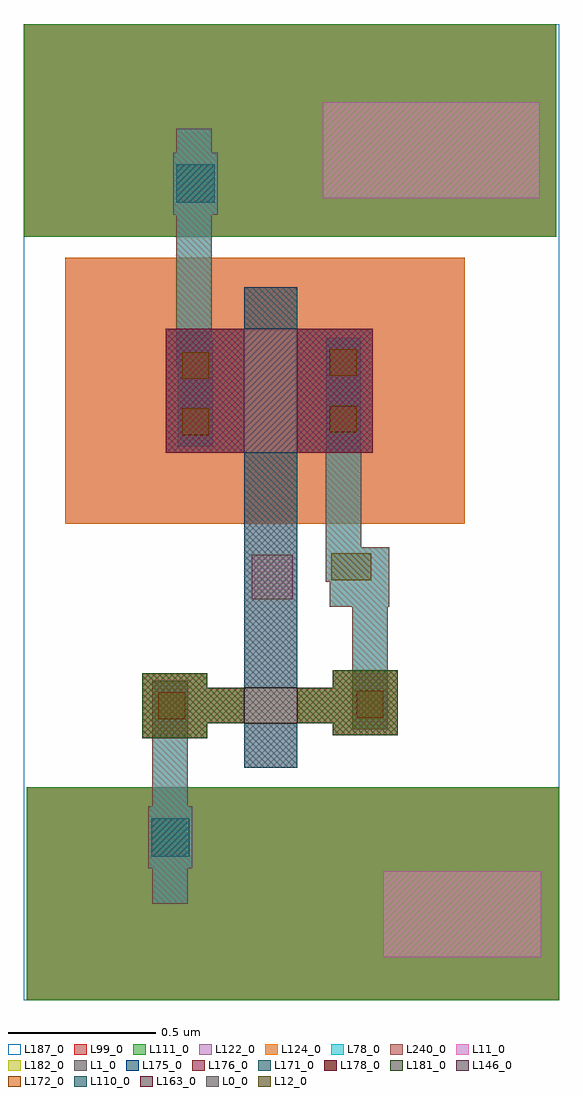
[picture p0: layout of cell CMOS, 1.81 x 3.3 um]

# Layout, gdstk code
import gdstk
lib = gdstk.Library(unit=1e-6, precision=1e-09)
def R(c, l, rs):  # rectangles x0, y0, x1, y1
    for r in rs: c.add(gdstk.rectangle(r[:2], r[2:], *l))
def P(c, l, *ps):  # polygons
    for p in ps: c.add(gdstk.Polygon(p, *l))
L0_0 = (0, 0)
L1_0 = (1, 0)
L11_0 = (11, 0)
L12_0 = (12, 0)
L78_0 = (78, 0)
L99_0 = (99, 0)
L110_0 = (110, 0)
L111_0 = (111, 0)
L122_0 = (122, 0)
L124_0 = (124, 0)
L146_0 = (146, 0)
L163_0 = (163, 0)
L171_0 = (171, 0)
L172_0 = (172, 0)
L175_0 = (175, 0)
L176_0 = (176, 0)
L178_0 = (178, 0)
L181_0 = (181, 0)
L182_0 = (182, 0)
L187_0 = (187, 0)
L240_0 = (240, 0)

cmos = lib.new_cell('CMOS')
R(cmos, L0_0, [(2.16,-0.305,2.3,-0.155)])
R(cmos, L1_0, [(2.135,-0.875,2.315,0.75)])
R(cmos, L11_0, [(2.605,-1.515,3.14,-1.225), (2.4,1.05,3.135,1.375)])
R(cmos, L12_0, [(2.43,-0.24,2.565,-0.15)])
P(cmos, L78_0, [(1.945,-0.58),(1.945,-1.005),(1.96,-1.005),(1.96,-1.215),(1.945,-1.215),(1.945,-1.335),(1.825,-1.335),(1.825,-1.215),(1.81,-1.215),(1.81,-1.005),(1.825,-1.005),(1.825,-0.58)],
  [(2.025,1.285),(2.025,1.205),(2.045,1.205),(2.045,0.995),(2.025,0.995),(2.025,0.57),(2.03,0.57),(2.03,0.21),(1.91,0.21),(1.91,0.485),(1.905,0.485),(1.905,0.995),(1.895,0.995),(1.895,1.205),(1.905,1.205),(1.905,1.285)],
  [(2.53,0.58),(2.53,-0.13),(2.625,-0.13),(2.625,-0.33),(2.62,-0.33),(2.62,-0.745),(2.5,-0.745),(2.5,-0.33),(2.425,-0.33),(2.425,-0.245),(2.41,-0.245),(2.41,0.58)])
R(cmos, L99_0, [(1.4,-1.66,3.2,-0.94), (1.39,0.92,3.19,1.64)])
R(cmos, L110_0, [(1.82,-1.175,1.95,-1.045), (1.905,1.035,2.035,1.165)])
R(cmos, L111_0, [(1.4,-1.66,3.2,-0.94), (1.39,0.92,3.19,1.64)])
R(cmos, L122_0, [(1.53,-0.05,2.88,0.85)])
R(cmos, L124_0, [(1.53,-0.05,2.88,0.85)])
R(cmos, L146_0, [(2.135,0.19,2.315,0.61)])
R(cmos, L163_0, [(2.135,-0.725,2.315,-0.605)])
R(cmos, L171_0, [(2.135,-0.875,2.315,-0.725), (2.135,-0.605,2.315,0.19), (2.135,0.61,2.315,0.75)])
R(cmos, L172_0, [(1.845,-0.71,1.935,-0.62), (2.515,-0.705,2.605,-0.615), (1.925,0.25,2.015,0.34), (2.425,0.26,2.515,0.35), (1.925,0.44,2.015,0.53), (2.425,0.45,2.515,0.54)])
R(cmos, L175_0, [(1.87,0.19,2.135,0.61), (2.315,0.19,2.57,0.61)])
R(cmos, L176_0, [(1.87,0.19,2.135,0.61), (2.315,0.19,2.57,0.61)])
P(cmos, L178_0, [(2.655,-0.545),(2.655,-0.765),(2.435,-0.765),(2.435,-0.725),(2.315,-0.725),(2.315,-0.605),(2.435,-0.605),(2.435,-0.545)],
  [(2.01,-0.555),(2.01,-0.605),(2.135,-0.605),(2.135,-0.725),(2.01,-0.725),(2.01,-0.775),(1.79,-0.775),(1.79,-0.555)])
P(cmos, L181_0, [(2.655,-0.545),(2.655,-0.765),(2.435,-0.765),(2.435,-0.725),(2.315,-0.725),(2.315,-0.605),(2.435,-0.605),(2.435,-0.545)],
  [(2.01,-0.555),(2.01,-0.605),(2.135,-0.605),(2.135,-0.725),(2.01,-0.725),(2.01,-0.775),(1.79,-0.775),(1.79,-0.555)])
R(cmos, L182_0, [(1.87,0.19,2.135,0.61), (2.315,0.19,2.57,0.61)])
P(cmos, L182_0, [(2.655,-0.545),(2.655,-0.765),(2.435,-0.765),(2.435,-0.725),(2.315,-0.725),(2.315,-0.605),(2.435,-0.605),(2.435,-0.545)],
  [(2.01,-0.555),(2.01,-0.605),(2.135,-0.605),(2.135,-0.725),(2.01,-0.725),(2.01,-0.775),(1.79,-0.775),(1.79,-0.555)])
R(cmos, L187_0, [(1.39,-1.66,3.2,1.64)])
P(cmos, L240_0, [(1.945,-0.58),(1.945,-1.005),(1.96,-1.005),(1.96,-1.215),(1.945,-1.215),(1.945,-1.335),(1.825,-1.335),(1.825,-1.215),(1.81,-1.215),(1.81,-1.005),(1.825,-1.005),(1.825,-0.58)],
  [(2.025,1.285),(2.025,1.205),(2.045,1.205),(2.045,0.995),(2.025,0.995),(2.025,0.57),(2.03,0.57),(2.03,0.21),(1.91,0.21),(1.91,0.485),(1.905,0.485),(1.905,0.995),(1.895,0.995),(1.895,1.205),(1.905,1.205),(1.905,1.285)],
  [(2.53,0.58),(2.53,-0.13),(2.625,-0.13),(2.625,-0.33),(2.62,-0.33),(2.62,-0.745),(2.5,-0.745),(2.5,-0.33),(2.425,-0.33),(2.425,-0.245),(2.41,-0.245),(2.41,0.58)])

lib.write_gds('CMOS.gds')
